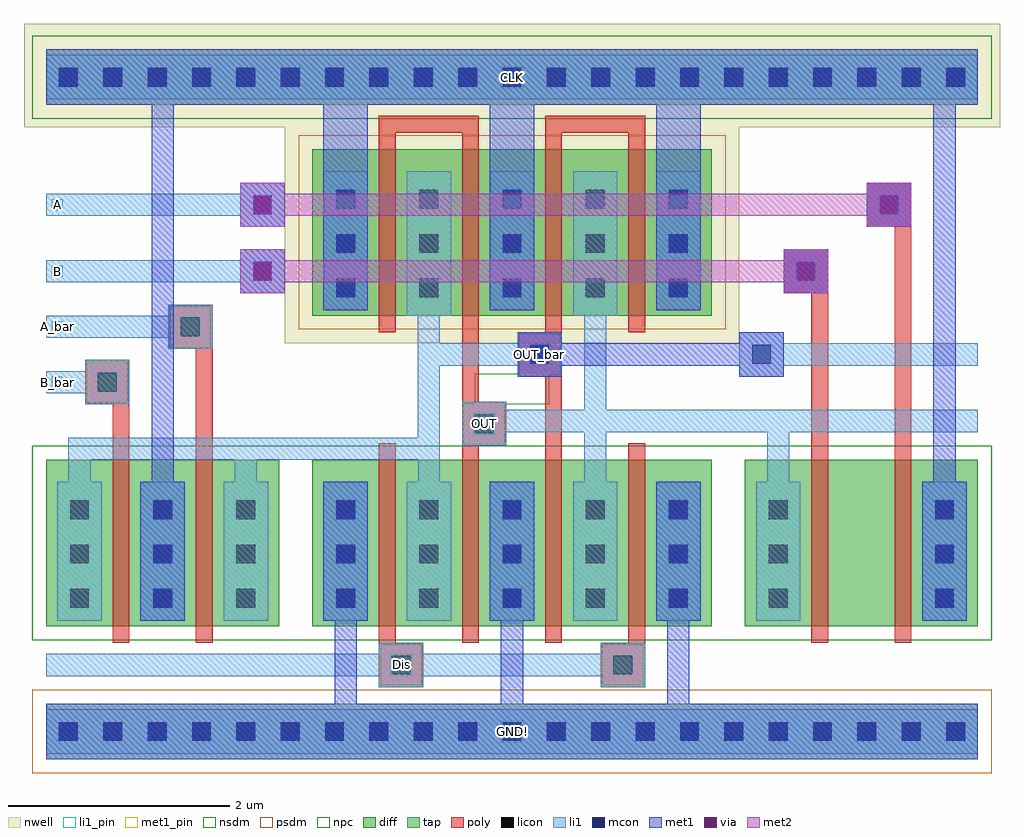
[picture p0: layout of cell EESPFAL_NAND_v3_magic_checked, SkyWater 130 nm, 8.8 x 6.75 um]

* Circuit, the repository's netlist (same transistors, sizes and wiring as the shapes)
* NGSPICE file created from EESPFAL_NAND_v3_magic_checked.ext - technology: sky130A

.subckt EESPFAL_NAND_v3_magic_checked OUT A A_bar B B_bar Dis OUT_bar GND CLK
X0 CLK OUT_bar OUT CLK sky130_fd_pr__pfet_01v8 ad=2.7e+12p pd=1.26e+07u as=9e+11p ps=4.2e+06u w=1.5e+06u l=150000u M=2
X1 CLK B_bar OUT_bar GND sky130_fd_pr__nfet_01v8 ad=6e+12p pd=2.62e+07u as=2.7e+12p ps=1.26e+07u w=1.5e+06u l=150000u
X2 OUT_bar Dis GND GND sky130_fd_pr__nfet_01v8 ad=0p pd=0u as=2.7e+12p ps=1.26e+07u w=1.5e+06u l=150000u
X3 OUT OUT_bar GND GND sky130_fd_pr__nfet_01v8 ad=1.8e+12p pd=8.4e+06u as=0p ps=0u w=1.5e+06u l=150000u
X4 OUT_bar OUT CLK CLK sky130_fd_pr__pfet_01v8 ad=9e+11p pd=4.2e+06u as=0p ps=0u w=1.5e+06u l=150000u M=2
X5 a_1450_270# B OUT GND sky130_fd_pr__nfet_01v8 ad=9e+11p pd=4.2e+06u as=0p ps=0u w=1.5e+06u l=150000u
X6 GND OUT OUT_bar GND sky130_fd_pr__nfet_01v8 ad=0p pd=0u as=0p ps=0u w=1.5e+06u l=150000u
X7 GND Dis OUT GND sky130_fd_pr__nfet_01v8 ad=0p pd=0u as=0p ps=0u w=1.5e+06u l=150000u
X8 CLK A a_1450_270# GND sky130_fd_pr__nfet_01v8 ad=0p pd=0u as=0p ps=0u w=1.5e+06u l=150000u
X9 OUT_bar A_bar CLK GND sky130_fd_pr__nfet_01v8 ad=0p pd=0u as=0p ps=0u w=1.5e+06u l=150000u
.ends

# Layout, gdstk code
import gdstk
lib = gdstk.Library(unit=1e-6, precision=1e-09)
def R(c, l, rs):  # rectangles x0, y0, x1, y1
    for r in rs: c.add(gdstk.rectangle(r[:2], r[2:], *l))
def A(c, l, x, y, w, h, nx, ny, dx, dy):  # array of equal rectangles
    R(c, l, [(x+i*dx, y+j*dy, x+i*dx+w, y+j*dy+h) for i in range(nx) for j in range(ny)])
nwell = (64, 20)
diff = (65, 20)
tap = (65, 44)
poly = (66, 20)
licon = (66, 44)
li1_pin = (67, 16)
li1 = (67, 20)
mcon = (67, 44)
met1_pin = (68, 16)
met1 = (68, 20)
via = (68, 44)
met2 = (69, 20)
nsdm = (93, 44)
psdm = (94, 20)
npc = (95, 20)

eespfal_nand_v3_magic_ch = lib.new_cell('EESPFAL_NAND_v3_magic_checked')
R(eespfal_nand_v3_magic_ch, nwell, [(2.35,3.9,6.45,5.85), (0,5.85,8.8,6.78)])
R(eespfal_nand_v3_magic_ch, diff, [(0.2,1.35,2.3,2.85), (2.6,1.35,6.2,2.85), (6.5,1.35,8.6,2.85), (2.6,4.15,6.2,5.65)])
R(eespfal_nand_v3_magic_ch, tap, [(0.2,0.15,8.6,0.65), (0.2,6.05,8.6,6.55)])
R(eespfal_nand_v3_magic_ch, poly, [(3.2,0.8,3.6,1.2), (5.2,0.8,5.6,1.2), (0.8,1.2,0.95,3.35), (1.55,1.2,1.7,3.85), (3.2,1.2,3.35,3), (3.95,1.2,4.1,2.975), (4.7,1.2,4.85,3.6), (5.45,1.2,5.6,3), (7.1,1.2,7.25,4.35), (7.85,1.2,8,4.95), (3.95,2.975,4.35,3.375), (0.55,3.35,0.95,3.75), (3.95,3.375,4.1,5.8), (4.45,3.6,4.85,4), (1.3,3.85,1.7,4.25), (3.2,4,3.35,5.8), (4.7,4,4.85,5.8), (5.45,4,5.6,5.8), (6.85,4.35,7.25,4.75), (7.6,4.95,8,5.35), (3.2,5.8,4.1,5.95), (4.7,5.8,5.6,5.95)])
A(eespfal_nand_v3_magic_ch, licon, 0.315, 0.315, 0.17, 0.17, 21, 2, 0.4, 5.9)
A(eespfal_nand_v3_magic_ch, licon, 0.415, 1.515, 0.17, 0.17, 3, 3, 0.75, 0.4)
A(eespfal_nand_v3_magic_ch, licon, 2.815, 1.515, 0.17, 0.17, 5, 3, 0.75, 0.4)
A(eespfal_nand_v3_magic_ch, licon, 6.715, 1.515, 0.17, 0.17, 1, 3, 0, 0.4)
A(eespfal_nand_v3_magic_ch, licon, 8.215, 1.515, 0.17, 0.17, 1, 3, 0, 0.4)
A(eespfal_nand_v3_magic_ch, licon, 2.815, 4.315, 0.17, 0.17, 5, 3, 0.75, 0.4)
R(eespfal_nand_v3_magic_ch, licon, [(3.315,0.915,3.485,1.085), (5.315,0.915,5.485,1.085), (4.065,3.09,4.235,3.26), (0.665,3.465,0.835,3.635), (4.565,3.715,4.735,3.885), (1.415,3.965,1.585,4.135), (6.965,4.465,7.135,4.635), (7.715,5.065,7.885,5.235)])
A(eespfal_nand_v3_magic_ch, li1_pin, 0.25, 3.5, 0.1, 0.1, 1, 3, 0, 0.5)
R(eespfal_nand_v3_magic_ch, li1_pin, [(3.3,0.9,3.5,1.1), (4.05,3.075,4.25,3.275), (0.25,5.1,0.35,5.2)])
A(eespfal_nand_v3_magic_ch, li1, 0.3, 1.4, 0.4, 1.25, 3, 1, 0.75, 0)
A(eespfal_nand_v3_magic_ch, li1, 2.7, 1.4, 0.4, 1.25, 5, 1, 0.75, 0)
A(eespfal_nand_v3_magic_ch, li1, 2.7, 4.2, 0.4, 1.25, 3, 1, 1.5, 0)
A(eespfal_nand_v3_magic_ch, li1, 1.95, 4.35, 0.4, 0.1, 1, 4, 0, 0.3)
R(eespfal_nand_v3_magic_ch, li1, [(0.2,0.2,8.6,0.6), (3.2,0.8,3.6,0.9), (5.2,0.8,5.6,0.9), (0.2,0.9,5.6,1.1), (3.2,1.1,3.6,1.2), (5.2,1.1,5.6,1.2), (6.6,1.4,7,2.65), (8.1,1.4,8.5,2.65), (0.4,2.65,0.6,2.85), (1.9,2.65,2.1,2.85), (3.555,2.65,3.75,2.85), (5.05,2.65,5.25,3.1), (6.7,2.65,6.9,3.1), (0.4,2.85,3.75,3.05), (3.95,2.975,4.35,3.1), (3.55,3.05,3.75,3.7), (3.95,3.1,8.6,3.3), (3.95,3.3,4.35,3.375), (5.05,3.3,5.25,4.15), (0.55,3.35,0.95,3.45), (0.2,3.45,0.95,3.65), (4.45,3.6,4.85,3.7), (6.45,3.6,6.85,3.7), (0.55,3.65,0.95,3.75), (3.55,3.7,4.85,3.9), (6.45,3.7,8.6,3.9), (1.3,3.85,1.7,3.95), (3.55,3.9,3.75,4.15), (4.45,3.9,4.85,4), (6.45,3.9,6.85,4), (0.2,3.95,1.7,4.15), (1.3,4.15,1.7,4.25), (3.45,4.15,3.85,5.45), (4.95,4.15,5.35,5.45), (6.85,4.35,7.25,4.75), (0.2,4.45,2.35,4.65), (7.6,4.95,8,5.35), (0.2,5.05,2.35,5.25), (0.2,6.1,8.6,6.5)])
A(eespfal_nand_v3_magic_ch, mcon, 0.315, 0.315, 0.17, 0.17, 21, 2, 0.4, 5.9)
A(eespfal_nand_v3_magic_ch, mcon, 1.165, 1.515, 0.17, 0.17, 1, 3, 0, 0.4)
A(eespfal_nand_v3_magic_ch, mcon, 2.815, 1.515, 0.17, 0.17, 3, 3, 1.5, 0.4)
A(eespfal_nand_v3_magic_ch, mcon, 8.215, 1.515, 0.17, 0.17, 1, 3, 0, 0.4)
A(eespfal_nand_v3_magic_ch, mcon, 2.815, 4.315, 0.17, 0.17, 3, 3, 1.5, 0.4)
R(eespfal_nand_v3_magic_ch, mcon, [(4.565,3.715,4.735,3.885), (6.565,3.715,6.735,3.885), (2.065,4.465,2.235,4.635), (6.965,4.465,7.135,4.635), (2.065,5.065,2.235,5.235), (7.715,5.065,7.885,5.235)])
R(eespfal_nand_v3_magic_ch, met1_pin, [(4.3,0.3,4.5,0.5), (4.55,3.7,4.75,3.9), (4.3,6.2,4.5,6.4)])
A(eespfal_nand_v3_magic_ch, met1, 2.8, 0.65, 0.2, 0.75, 3, 1, 1.5, 0)
A(eespfal_nand_v3_magic_ch, met1, 2.7, 1.4, 0.4, 1.25, 3, 1, 1.5, 0)
A(eespfal_nand_v3_magic_ch, met1, 2.7, 4.2, 0.4, 1.85, 3, 1, 1.5, 0)
R(eespfal_nand_v3_magic_ch, met1, [(0.2,0.15,8.6,0.65), (1.05,1.4,1.45,2.65), (8.1,1.4,8.5,2.65), (1.15,2.65,1.35,6.05), (8.2,2.65,8.4,6.05), (4.45,3.6,4.85,3.7), (6.45,3.6,6.85,3.7), (4.45,3.7,6.85,3.9), (4.45,3.9,4.85,4), (6.45,3.9,6.85,4), (1.95,4.35,2.35,4.75), (6.85,4.35,7.25,4.75), (1.95,4.95,2.35,5.35), (7.6,4.95,8,5.35), (0.2,6.05,8.6,6.55)])
R(eespfal_nand_v3_magic_ch, via, [(2.075,4.475,2.225,4.625), (6.975,4.475,7.125,4.625), (2.075,5.075,2.225,5.225), (7.725,5.075,7.875,5.225)])
A(eespfal_nand_v3_magic_ch, met2, 1.95, 4.35, 0.4, 0.1, 1, 4, 0, 0.3)
R(eespfal_nand_v3_magic_ch, met2, [(6.85,4.35,7.25,4.45), (1.95,4.45,7.25,4.65), (6.85,4.65,7.25,4.75), (7.6,4.95,8,5.05), (1.95,5.05,8,5.25), (7.6,5.25,8,5.35)])
R(eespfal_nand_v3_magic_ch, nsdm, [(0.075,1.225,8.725,2.975), (0.075,5.925,8.725,6.675)])
R(eespfal_nand_v3_magic_ch, psdm, [(0.075,0.025,8.725,0.775), (2.475,4.025,6.325,5.775)])
R(eespfal_nand_v3_magic_ch, npc, [(3.215,0.815,3.585,1.185), (5.215,0.815,5.585,1.185), (3.965,2.99,4.335,3.35), (3.965,3.35,4.735,3.36), (4.065,3.36,4.735,3.615), (0.565,3.365,0.935,3.735), (4.065,3.615,4.835,3.625), (4.465,3.625,4.835,3.985), (1.315,3.865,1.685,4.235), (6.865,4.365,7.235,4.735), (7.615,4.965,7.985,5.335)])
eespfal_nand_v3_magic_ch.add(gdstk.Label('OUT', (4.15,3.175), layer=67, texttype=16))
eespfal_nand_v3_magic_ch.add(gdstk.Label('A', (0.3,5.15), layer=67, texttype=16))
eespfal_nand_v3_magic_ch.add(gdstk.Label('A_bar', (0.3,4.05), layer=67, texttype=16))
eespfal_nand_v3_magic_ch.add(gdstk.Label('B', (0.3,4.55), layer=67, texttype=16))
eespfal_nand_v3_magic_ch.add(gdstk.Label('B_bar', (0.3,3.55), layer=67, texttype=16))
eespfal_nand_v3_magic_ch.add(gdstk.Label('Dis', (3.4,1), layer=67, texttype=16))
eespfal_nand_v3_magic_ch.add(gdstk.Label('OUT_bar', (4.65,3.8), layer=68, texttype=16))
eespfal_nand_v3_magic_ch.add(gdstk.Label('GND!', (4.4,0.4), layer=68, texttype=16))
eespfal_nand_v3_magic_ch.add(gdstk.Label('CLK', (4.4,6.3), layer=68, texttype=16))

lib.write_gds('EESPFAL_NAND_v3_magic_checked.gds')
